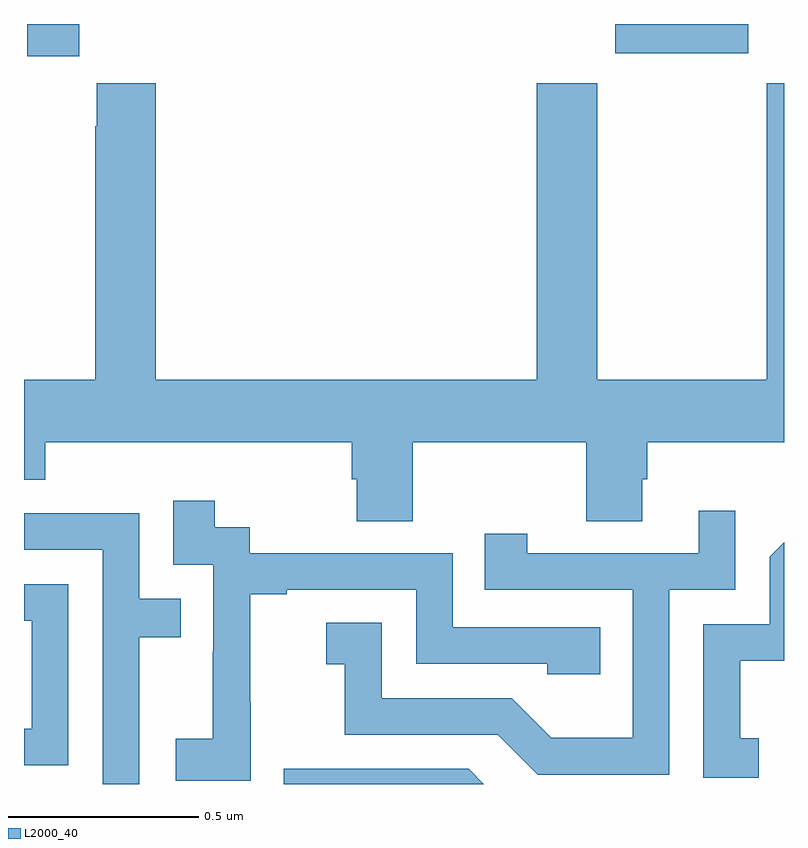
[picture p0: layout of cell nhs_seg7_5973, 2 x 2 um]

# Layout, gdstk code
import gdstk
lib = gdstk.Library(unit=1e-6, precision=1e-09)
def R(c, l, rs):  # rectangles x0, y0, x1, y1
    for r in rs: c.add(gdstk.rectangle(r[:2], r[2:], *l))
def P(c, l, *ps):  # polygons
    for p in ps: c.add(gdstk.Polygon(p, *l))
L2000_40 = (2000, 40)

nhs_seg7_5973 = lib.new_cell('nhs_seg7_5973')
R(nhs_seg7_5973, L2000_40, [(192.008,1050.915,192.145,1051), (193.556,1050.923,193.906,1051)])
P(nhs_seg7_5973, L2000_40, [(193.023,1049.9),(193.48,1049.9),(193.48,1049.692),(193.627,1049.692),(193.627,1049.802),(193.64,1049.802),(193.64,1049.9),(194,1049.9),(194,1050.844),(193.954,1050.844),(193.954,1050.064),(193.509,1050.064),(193.509,1050.844),(193.349,1050.844),(193.349,1050.064),(192.347,1050.064),(192.347,1050.844),(192.191,1050.844),(192.191,1050.731),(192.187,1050.731),(192.187,1050.064),(192,1050.064),(192,1049.801),(192.056,1049.801),(192.056,1049.9),(192.863,1049.9),(192.863,1049.802),(192.875,1049.802),(192.875,1049.692),(193.023,1049.692)],
  [(192.597,1049.215),(192.596,1049.215),(192.596,1049.499),(192.691,1049.499),(192.691,1049.511),(193.032,1049.511),(193.032,1049.316),(193.377,1049.316),(193.377,1049.289),(193.517,1049.289),(193.517,1049.412),(193.128,1049.412),(193.128,1049.607),(192.594,1049.607),(192.594,1049.676),(192.502,1049.676),(192.502,1049.746),(192.393,1049.746),(192.393,1049.577),(192.498,1049.577),(192.498,1049.348),(192.497,1049.348),(192.497,1049.119),(192.399,1049.119),(192.399,1049.009),(192.597,1049.009)],
  [(193.698,1049.511),(193.872,1049.511),(193.872,1049.719),(193.775,1049.719),(193.775,1049.607),(193.324,1049.607),(193.324,1049.659),(193.213,1049.659),(193.213,1049.511),(193.602,1049.511),(193.602,1049.122),(193.388,1049.122),(193.284,1049.226),(192.942,1049.226),(192.942,1049.425),(192.795,1049.425),(192.795,1049.315),(192.844,1049.315),(192.844,1049.13),(193.247,1049.13),(193.352,1049.025),(193.698,1049.025)],
  [(192.303,1049.386),(192.413,1049.386),(192.413,1049.487),(192.303,1049.487),(192.303,1049.712),(192,1049.712),(192,1049.616),(192.207,1049.616),(192.207,1049),(192.303,1049)],
  [(193.934,1049.121),(193.885,1049.121),(193.885,1049.325),(194,1049.325),(194,1049.636),(193.962,1049.598),(193.962,1049.421),(193.788,1049.421),(193.788,1049.016),(193.934,1049.016)],
  [(192.117,1049.526),(192,1049.526),(192,1049.43),(192.021,1049.43),(192.021,1049.145),(192,1049.145),(192,1049.049),(192.117,1049.049)],
  [(193.17,1049.04),(192.684,1049.04),(192.684,1049),(193.21,1049)])

lib.write_gds('nhs_seg7_5973.gds')
